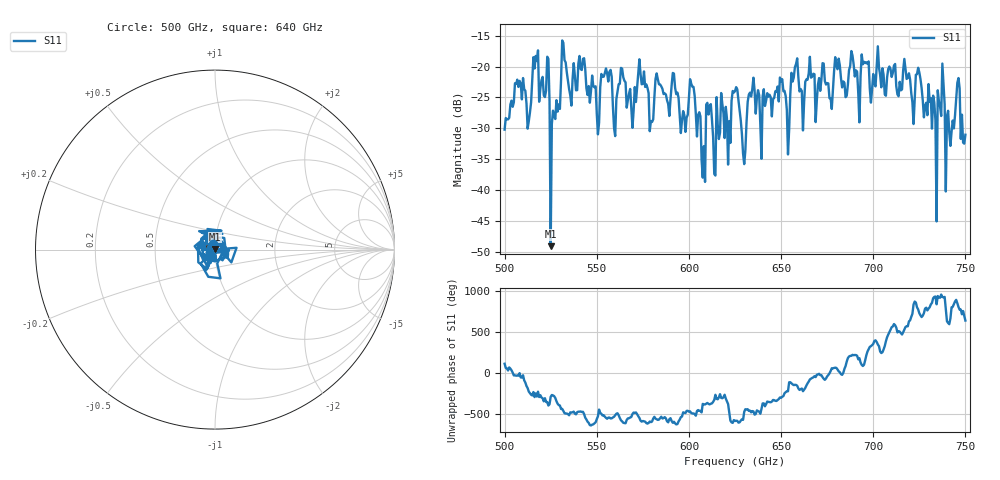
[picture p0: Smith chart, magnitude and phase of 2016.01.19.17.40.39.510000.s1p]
!Created with skrf (http://scikit-rf.org).
# GHz S RI R 50.0
!freq ReS11 ImS11
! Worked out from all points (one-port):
!   401 points, 500 GHz to 750 GHz, reference 50 ohm
!   lowest |S11| = -49.1 dB at 525 GHz (marker M1), VSWR 1.01, Z = 50.1 + j0.326 ohm
!   |S11| at or under -10 dB: start of sweep to end of sweep
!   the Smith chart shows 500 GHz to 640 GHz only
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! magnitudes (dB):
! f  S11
! 500 GHz  -30.2
! 506.9 GHz  -22.1
! 513.1 GHz  -28.8
! 516.9 GHz  -18.3
! 523.1 GHz  -18.4
! 525 GHz  -49.1
! 531.2 GHz  -15.8
! 550 GHz  -27.6
! 562.5 GHz  -22.8
! 580 GHz  -29.0
! 593.8 GHz  -24.2
! 596.9 GHz  -27.2
! 601.9 GHz  -23.3
! 607.5 GHz  -38.0
! 610.6 GHz  -27.8
! 615 GHz  -24.9
! 625 GHz  -24.0
! 630 GHz  -35.8
! 633.8 GHz  -24.8
! 653.8 GHz  -34.2
! 656.2 GHz  -22.4
! 687.5 GHz  -19.9
! 718.8 GHz  -21.8
! 733.1 GHz  -25.8
! 737.5 GHz  -19.5
! 740.6 GHz  -27.2
! 745.6 GHz  -22.6
! 750 GHz  -31.0
